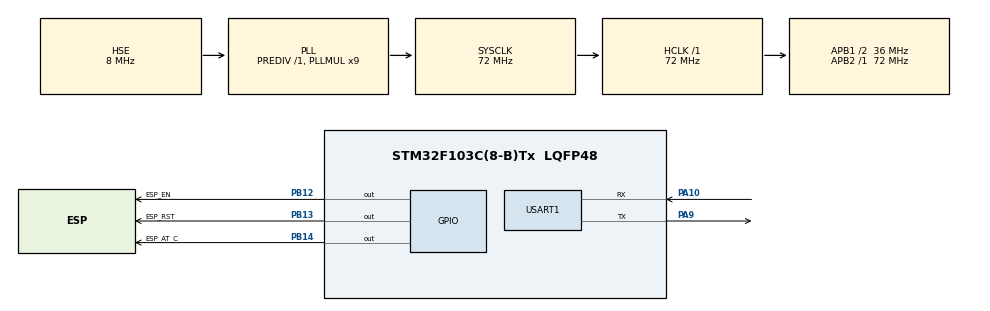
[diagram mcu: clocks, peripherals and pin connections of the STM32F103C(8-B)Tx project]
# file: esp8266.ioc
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Dma.Request0=USART1_RX
Dma.USART1_RX.0.Direction=DMA_PERIPH_TO_MEMORY
Dma.USART1_RX.0.Instance=DMA1_Channel5
Dma.USART1_RX.0.MemDataAlignment=DMA_MDATAALIGN_BYTE
Dma.USART1_RX.0.MemInc=DMA_MINC_ENABLE
Dma.USART1_RX.0.Mode=DMA_CIRCULAR
Dma.USART1_RX.0.PeriphDataAlignment=DMA_PDATAALIGN_BYTE
Dma.USART1_RX.0.PeriphInc=DMA_PINC_DISABLE
Dma.USART1_RX.0.Priority=DMA_PRIORITY_HIGH
Mcu.Family=STM32F1
Mcu.Name=STM32F103C(8-B)Tx
Mcu.Package=LQFP48
NVIC.DMA1_Channel5_IRQn=true\:0\:0\:false\:false\:true\:false\:true\:true
NVIC.PriorityGroup=NVIC_PRIORITYGROUP_4
NVIC.USART1_IRQn=true\:0\:0\:false\:false\:true\:true\:true\:true
PA10.Mode=Asynchronous
PA10.Signal=USART1_RX
PA13.Mode=Serial_Wire
PA13.Signal=SYS_JTMS-SWDIO
PA14.Mode=Serial_Wire
PA14.Signal=SYS_JTCK-SWCLK
PA9.Mode=Asynchronous
PA9.Signal=USART1_TX
PB12.GPIO_Label=ESP_EN
PB12.GPIO_PuPd=GPIO_PULLUP
PB12.Signal=GPIO_Output
PB13.GPIO_Label=ESP_RST
PB13.GPIO_PuPd=GPIO_PULLUP
PB13.Signal=GPIO_Output
PB14.GPIO_Label=ESP_AT_C
PB14.GPIO_PuPd=GPIO_PULLUP
PB14.Signal=GPIO_Output
PD0-OSC_IN.Mode=HSE-External-Oscillator
PD0-OSC_IN.Signal=RCC_OSC_IN
PD1-OSC_OUT.Mode=HSE-External-Oscillator
PD1-OSC_OUT.Signal=RCC_OSC_OUT
ProjectManager.HeapSize=0x200
ProjectManager.StackSize=0x400
ProjectManager.TargetToolchain=MDK-ARM V5.32
RCC.AHBFreq_Value=72000000
RCC.APB1CLKDivider=RCC_HCLK_DIV2
RCC.APB1Freq_Value=36000000
RCC.APB1TimFreq_Value=72000000
RCC.APB2Freq_Value=72000000
RCC.APB2TimFreq_Value=72000000
RCC.HCLKFreq_Value=72000000
RCC.PLLMUL=RCC_PLL_MUL9
RCC.PLLSourceVirtual=RCC_PLLSOURCE_HSE
RCC.SYSCLKFreq_VALUE=72000000
RCC.SYSCLKSource=RCC_SYSCLKSOURCE_PLLCLK
RCC.USBFreq_Value=72000000
USART1.VirtualMode=VM_ASYNC
board=custom

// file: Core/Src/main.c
/* USER CODE BEGIN Header */
/**
  ******************************************************************************
  * @file           : main.c
  * @brief          : Main program body
  ******************************************************************************
  * @attention
  *
  * Copyright (c) 2026 STMicroelectronics.
  * All rights reserved.
  *
  * This software is licensed under terms that can be found in the LICENSE file
  * in the root directory of this software component.
  * If no LICENSE file comes with this software, it is provided AS-IS.
  *
  ******************************************************************************
  */
/* USER CODE END Header */
#include "main.h"
#include "dma.h"
#include "stm32f1xx_hal_uart.h"
#include "usart.h"
#include "gpio.h"

/* USER CODE BEGIN Includes */
#include "esp_port_stm32f103_hal.h"
/* USER CODE END Includes */

void SystemClock_Config(void);

int main(void)
{

  /* MCU Configuration--------------------------------------------------------*/

  /* Reset of all peripherals, Initializes the Flash interface and the Systick. */
  HAL_Init();

  /* Configure the system clock */
  SystemClock_Config();

  /* Initialize all configured peripherals */
  MX_GPIO_Init();
  MX_DMA_Init();
  MX_USART1_UART_Init();
  /* USER CODE BEGIN 2 */
  static uint8_t esp_rx_buffer[256];
  const esp_port_stm32f103_hal_config_t config = {
    .uart_handle      = &huart1,
    .reset_gpio_port  = ESP_RST_GPIO_Port,
    .reset_gpio_pin   = ESP_RST_Pin,
    .enable_gpio_port = ESP_EN_GPIO_Port,
    .enable_gpio_pin  = ESP_EN_Pin,
    .rx_buffer        = esp_rx_buffer,
    .rx_buffer_size   = sizeof(esp_rx_buffer),
  };

  esp_port_t esp_port;

  bool esp_init = esp_port_stm32f103_hal_init(&config,& esp_port);

  /* USER CODE END 2 */

  /* Infinite loop */
  /* USER CODE BEGIN WHILE */
  uint16_t avl = 0;
  uint8_t temp[100] = {0};
  while (1)
  {
    if(esp_init){
      avl = esp_port.available();
      if(avl > 0) {
        if(avl > sizeof(temp)) {
          avl = sizeof(temp);
        }

        uint16_t read_len = esp_port.read(temp , avl);

        if(read_len > 0){
          esp_port.write(temp , read_len ,1000);
        }
      }
    }
    /* USER CODE END WHILE */

  }
}

void SystemClock_Config(void)
{
  RCC_OscInitTypeDef RCC_OscInitStruct = {0};
  RCC_ClkInitTypeDef RCC_ClkInitStruct = {0};

  /** Initializes the RCC Oscillators according to the specified parameters
  * in the RCC_OscInitTypeDef structure.
  */
  RCC_OscInitStruct.OscillatorType = RCC_OSCILLATORTYPE_HSE;
  RCC_OscInitStruct.HSEState = RCC_HSE_ON;
  RCC_OscInitStruct.HSEPredivValue = RCC_HSE_PREDIV_DIV1;
  RCC_OscInitStruct.HSIState = RCC_HSI_ON;
  RCC_OscInitStruct.PLL.PLLState = RCC_PLL_ON;
  RCC_OscInitStruct.PLL.PLLSource = RCC_PLLSOURCE_HSE;
  RCC_OscInitStruct.PLL.PLLMUL = RCC_PLL_MUL9;
  if (HAL_RCC_OscConfig(&RCC_OscInitStruct) != HAL_OK)
  {
    Error_Handler();
  }

  /** Initializes the CPU, AHB and APB buses clocks
  */
  RCC_ClkInitStruct.ClockType = RCC_CLOCKTYPE_HCLK|RCC_CLOCKTYPE_SYSCLK
                              |RCC_CLOCKTYPE_PCLK1|RCC_CLOCKTYPE_PCLK2;
  RCC_ClkInitStruct.SYSCLKSource = RCC_SYSCLKSOURCE_PLLCLK;
  RCC_ClkInitStruct.AHBCLKDivider = RCC_SYSCLK_DIV1;
  RCC_ClkInitStruct.APB1CLKDivider = RCC_HCLK_DIV2;
  RCC_ClkInitStruct.APB2CLKDivider = RCC_HCLK_DIV1;

  if (HAL_RCC_ClockConfig(&RCC_ClkInitStruct, FLASH_LATENCY_2) != HAL_OK)
  {
    Error_Handler();
  }
}

/* USER CODE BEGIN 4 */
void HAL_UART_RxCpltCallback(UART_HandleTypeDef *huart) {
  esp_port_stm32f103_hal_uart_rx_cplt_callback(huart);
}
/* USER CODE END 4 */

void Error_Handler(void)
{
  __disable_irq();
  while (1)
  {
  }
}
